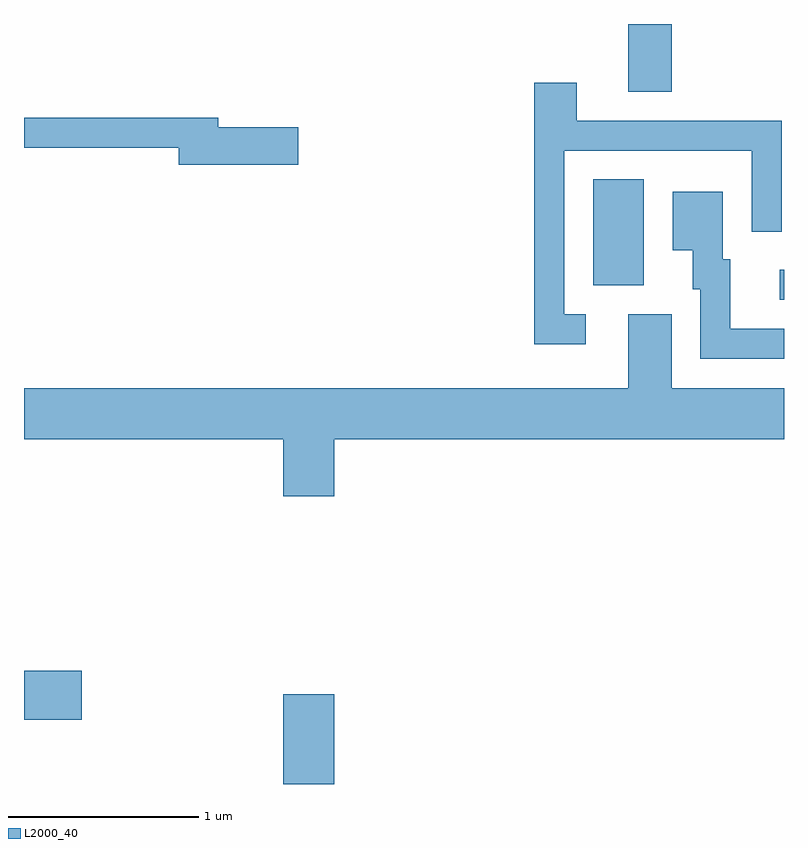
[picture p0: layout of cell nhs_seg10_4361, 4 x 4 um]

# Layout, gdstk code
import gdstk
lib = gdstk.Library(unit=1e-6, precision=1e-09)
def R(c, l, rs):  # rectangles x0, y0, x1, y1
    for r in rs: c.add(gdstk.rectangle(r[:2], r[2:], *l))
def P(c, l, *ps):  # polygons
    for p in ps: c.add(gdstk.Polygon(p, *l))
L2000_40 = (2000, 40)

nhs_seg10_4361 = lib.new_cell('nhs_seg10_4361')
R(nhs_seg10_4361, L2000_40, [(314.976,2136.522,315.244,2136.994), (313.611,2136.861,313.914,2137.119), (317.588,2139.071,317.611,2139.229), (316.606,2139.146,316.874,2139.704), (316.791,2140.166,317.019,2140.522)])
P(nhs_seg10_4361, L2000_40, [(316.568,2138.994),(316.454,2138.994),(316.454,2139.856),(317.441,2139.856),(317.441,2139.428),(317.599,2139.428),(317.599,2140.014),(316.519,2140.014),(316.519,2140.214),(316.296,2140.214),(316.296,2138.836),(316.568,2138.836)],
  [(315.054,2139.979),(314.634,2139.979),(314.634,2140.029),(313.611,2140.029),(313.611,2139.871),(314.426,2139.871),(314.426,2139.781),(315.054,2139.781)],
  [(317.611,2138.919),(317.329,2138.919),(317.329,2139.284),(317.289,2139.284),(317.289,2139.639),(317.026,2139.639),(317.026,2139.331),(317.131,2139.331),(317.131,2139.126),(317.171,2139.126),(317.171,2138.761),(317.611,2138.761)],
  [(315.244,2138.336),(317.611,2138.336),(317.611,2138.604),(317.019,2138.604),(317.019,2138.994),(316.791,2138.994),(316.791,2138.604),(313.611,2138.604),(313.611,2138.336),(314.976,2138.336),(314.976,2138.036),(315.244,2138.036)])

lib.write_gds('nhs_seg10_4361.gds')
